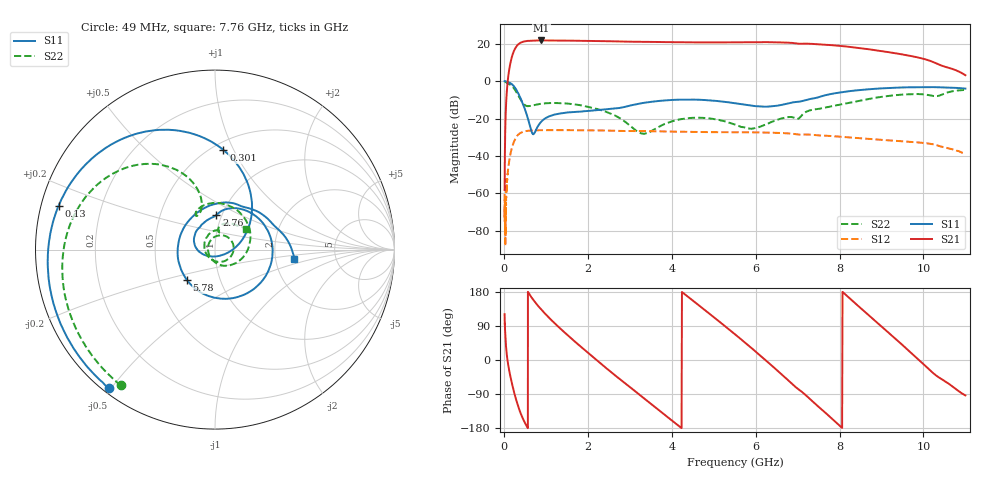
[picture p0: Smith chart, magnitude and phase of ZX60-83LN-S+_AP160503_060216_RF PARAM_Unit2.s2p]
!Mini-Circuits Lab.;
!S-parameters;
!Model:ZX60-83LN-S+, Unit2;
!Run:CE4530; Date Code:1622;
!Fixture: N/R, Temperature: 25°C;
!Connection: Port1 to Input, Port2 to Output;
!Tested with PNA-X Network Analyzer AG N5242A, S/N74314,Cal.Due:02/05/2017;
# MHZ S DB R 50
!Frequency  S11 dB  S11 DEG  S21 dB  S21 DEG  S12 dB  S12 DEG  S22 dB  S22 DEG
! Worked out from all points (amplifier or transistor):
!   1991 points, 10 MHz to 11 GHz, reference 50 ohm
!   highest |S21| = 21.7 dB at 884 MHz (marker M1)
!   |S21| within 3 dB of that: 298 MHz to 8.06 GHz (7.762 GHz wide, 186 % of centre)
!   unconditionally stable (mu >= 1): start of sweep to end of sweep
!   at 341 MHz: K = 1.19, MAG = 21.5 dB, |S12| = -28.5 dB
!   at 1.05 GHz: K = 1.10, MAG = 22.1 dB, |S12| = -26.2 dB
!   at 11 GHz: K = 12.15, MAG = 7.3 dB, |S12| = -39.1 dB
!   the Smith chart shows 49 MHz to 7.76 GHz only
!   S11 on the Smith chart (normalised r, x): 49 MHz: 0.02, -0.49; 130 MHz: 0.05, +0.14; 301 MHz: 0.57, +0.91; 2.76 GHz: 0.94, +0.38; 5.78 GHz: 0.69, -0.25; 7.76 GHz: 2.56, -0.33
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10  -0.02 -36.1  -58.18 120.9  -60.31 116.6  -0.02 -35.6
49  -0.26 -127.4  -10.50 28.5  -61.76 -132.1  -0.72 -124.7
130  -0.87 164.3  7.55 -33.9  -41.33 161.7  -1.65 173.1
301  -5.08 85.2  18.83 -110.9  -29.55 82.4  -6.24 115.3
530  -17.40 12.9  21.42 -173.2  -26.67 21.8  -13.24 113.5
884  -21.68 -167.7  21.74 133.2  -26.22 -26.9  -12.10 110.0
1330  -17.33 147.7  21.68 83.8  -26.21 -69.0  -11.79 75.1
1850  -16.29 121.4  21.56 33.0  -26.31 -110.8  -13.00 30.3
2280  -15.37 103.9  21.44 -7.3  -26.35 -143.6  -15.32 -8.3
2760  -14.31 87.8  21.15 -50.7  -26.62 -178.6  -19.79 -61.5
3680  -10.62 39.0  20.91 -131.6  -26.86 116.3  -24.59 110.2
4480  -9.87 -15.9  20.70 158.5  -27.14 60.4  -19.64 26.4
5030  -10.53 -58.7  20.68 110.3  -27.29 22.3  -20.35 -24.2
5510  -11.81 -102.7  20.77 67.4  -27.34 -11.5  -23.28 -79.4
5780  -12.71 -132.2  20.82 42.6  -27.36 -31.1  -25.17 -125.4
6450  -13.31 135.8  20.78 -21.3  -27.61 -80.7  -21.20 117.4
7340  -9.36 30.3  19.91 -108.0  -28.69 -146.2  -15.37 58.7
7760  -7.03 -6.6  19.30 -149.1  -29.29 -176.1  -13.68 34.6
8520  -4.70 -74.1  17.55 135.1  -30.58 131.1  -10.25 -4.7
9170  -3.67 -131.1  15.46 71.7  -31.67 87.4  -7.91 -44.5
10160  -3.19 131.1  10.82 -27.4  -33.53 15.9  -7.63 -108.3
11000  -4.00 25.3  3.15 -93.4  -39.13 -35.9  -4.70 -149.5
